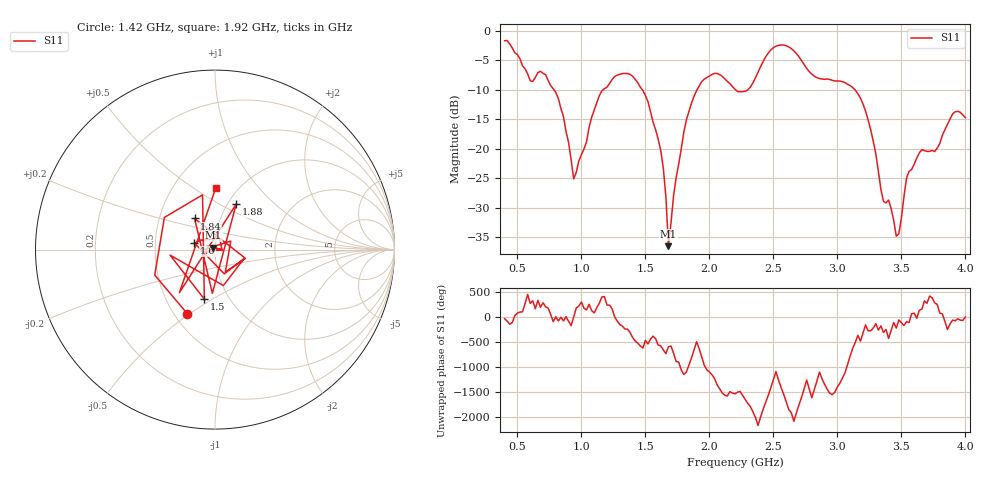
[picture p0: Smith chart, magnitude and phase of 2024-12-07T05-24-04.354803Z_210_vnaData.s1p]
!Created with skrf (http://scikit-rf.org).
# Hz S RI R 50.0
!freq ReS11 ImS11
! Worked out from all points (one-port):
!   181 points, 400 MHz to 4 GHz, reference 50 ohm
!   lowest |S11| = -36.5 dB at 1.68 GHz (marker M1), VSWR 1.03, Z = 49 + j1.1 ohm
!   |S11| at or under -10 dB: 785.9 MHz to 1.168 GHz (382.4 MHz wide, 39.1 % of centre); 1.477 GHz to 1.903 GHz (426.7 MHz wide, 25.2 % of centre); 3.139 GHz to end of sweep (the widest 3 of 4)
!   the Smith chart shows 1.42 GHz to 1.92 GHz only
!   S11 on the Smith chart (normalised r, x): 1.42 GHz: 0.58, -0.49; 1.5 GHz: 0.77, -0.46; 1.6 GHz: 0.79, +0.06; 1.84 GHz: 0.75, +0.27; 1.88 GHz: 1.09, +0.60; 1.92 GHz: 0.80, +0.62
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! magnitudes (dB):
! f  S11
! 400 MHz  -1.7
! 600 MHz  -8.4
! 720 MHz  -7.4
! 860 MHz  -14.5
! 940 MHz  -25.1
! 1.14 GHz  -11.0
! 1.3 GHz  -7.4
! 1.42 GHz  -8.2
! 1.5 GHz  -11.0
! 1.6 GHz  -18.4
! 1.64 GHz  -23.3
! 1.68 GHz  -36.5
! 1.76 GHz  -22.6
! 1.84 GHz  -13.6
! 1.88 GHz  -11.1
! 1.92 GHz  -9.3
! 2.2 GHz  -9.9
! 2.32 GHz  -9.5
! 2.5 GHz  -2.9
! 2.66 GHz  -3.4
! 3.1 GHz  -9.3
! 3.22 GHz  -13.6
! 3.36 GHz  -28.9
! 3.4 GHz  -28.7
! 3.46 GHz  -34.8
! 3.56 GHz  -23.8
! 3.9 GHz  -14.1
! 4 GHz  -14.7
